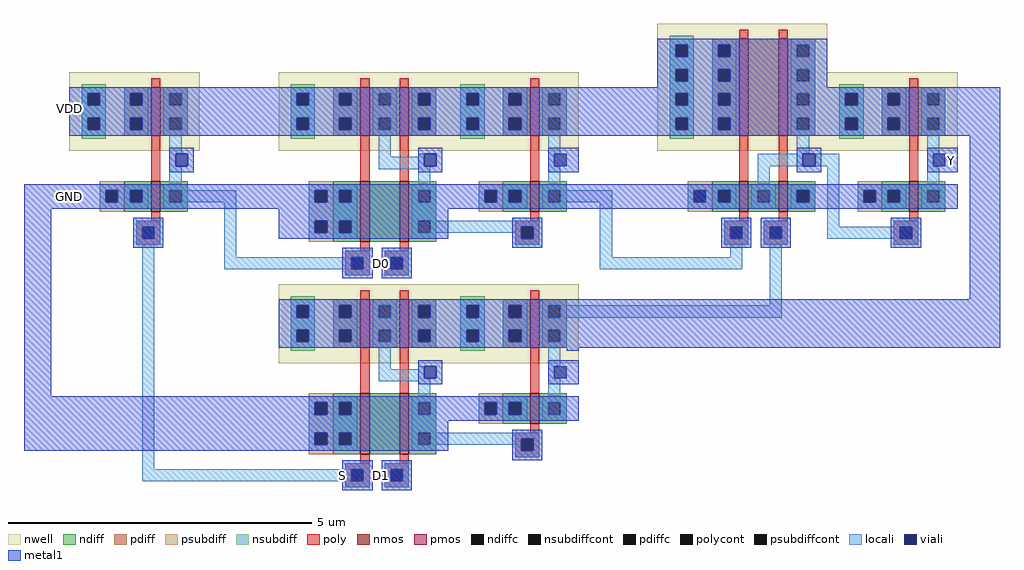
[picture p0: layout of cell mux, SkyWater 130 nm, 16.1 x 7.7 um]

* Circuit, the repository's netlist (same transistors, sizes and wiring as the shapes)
* NGSPICE file created from mux.ext - technology: sky130A

.subckt inverter1 GND Y A w_n140_80#
X0 Y A GND GND sky130_fd_pr__nfet_01v8 ad=0.225 pd=1.9 as=0.225 ps=1.9 w=0.5 l=0.15
X1 Y A w_n140_80# w_n140_80# sky130_fd_pr__pfet_01v8 ad=0.36 pd=2.5 as=0.36 ps=2.5 w=0.8 l=0.15
.ends

.subckt nor VDD GND A B Y a_n35_n100# a_30_n100#
X0 a_5_80# a_n35_n100# VDD VDD sky130_fd_pr__pfet_01v8 ad=0.4 pd=2.1 as=0.72 ps=4.1 w=1.6 l=0.15
X1 Y a_n35_n100# GND GND sky130_fd_pr__nfet_01v8 ad=0.125 pd=1 as=0.225 ps=1.9 w=0.5 l=0.15
X2 GND a_30_n100# Y GND sky130_fd_pr__nfet_01v8 ad=0.225 pd=1.9 as=0.125 ps=1 w=0.5 l=0.15
X3 Y a_30_n100# a_5_80# VDD sky130_fd_pr__pfet_01v8 ad=0.72 pd=4.1 as=0.4 ps=2.1 w=1.6 l=0.15
.ends

.subckt or inverter1_0/Y nor_0/VDD nor_0/B nor_0/a_n35_n100# nor_0/A nor_0/a_30_n100#
+ nor_0/Y SUB
Xinverter1_0 SUB inverter1_0/Y nor_0/Y nor_0/VDD inverter1
Xnor_0 nor_0/VDD SUB nor_0/A nor_0/B nor_0/Y nor_0/a_n35_n100# nor_0/a_30_n100# nor
.ends

.subckt nand VDD GND A B Y a_n40_n115# a_25_n115#
X0 Y a_n40_n115# VDD VDD sky130_fd_pr__pfet_01v8 ad=0.2 pd=1.3 as=0.36 ps=2.5 w=0.8 l=0.15
X1 Y a_25_n115# a_0_n60# GND sky130_fd_pr__nfet_01v8 ad=0.45 pd=2.9 as=0.25 ps=1.5 w=1 l=0.15
X2 a_0_n60# a_n40_n115# GND GND sky130_fd_pr__nfet_01v8 ad=0.25 pd=1.5 as=0.45 ps=2.9 w=1 l=0.15
X3 VDD a_25_n115# Y VDD sky130_fd_pr__pfet_01v8 ad=0.36 pd=2.5 as=0.2 ps=1.3 w=0.8 l=0.15
.ends

.subckt and inverter1_0/Y nand_0/VDD nand_0/a_n40_n115# nand_0/B nand_0/A SUB nand_0/a_25_n115#
Xinverter1_0 SUB inverter1_0/Y nand_0/Y nand_0/VDD inverter1
Xnand_0 nand_0/VDD SUB nand_0/A nand_0/B nand_0/Y nand_0/a_n40_n115# nand_0/a_25_n115#
+ nand
.ends

*.subckt mux VDD D1 D0 Y S GND
Xinverter1_0 GND inverter1_0/Y S VDD inverter1
Xor_0 Y VDD or_0/nor_0/B or_0/nor_0/A or_0/nor_0/A or_0/nor_0/B or_0/nor_0/Y GND or
Xand_0 or_0/nor_0/A VDD inverter1_0/Y D0 inverter1_0/Y GND D0 and
Xand_1 or_0/nor_0/B VDD S D1 S GND D1 and
*.ends

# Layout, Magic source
magic
tech sky130A
<< polycont >>
rect 690 25 710 45
rect 755 25 775 45
rect 65 -25 85 -5
rect 130 -25 150 -5
rect 65 -375 85 -355
rect 130 -375 150 -355
<< locali >>
rect -205 85 -125 105
rect 420 85 495 105
rect -280 -355 -260 15
rect -145 -5 -125 85
rect 475 -5 495 85
rect 690 -5 710 15
rect -145 -25 55 -5
rect 475 -25 710 -5
rect 755 -85 775 15
rect 420 -105 775 -85
rect -280 -375 55 -355
<< metal1 >>
rect -400 195 -380 275
rect -205 195 -35 275
rect 420 195 590 275
rect 1045 195 1135 275
rect 1015 135 1055 175
rect -475 75 -380 115
rect -205 75 -35 115
rect 420 75 590 115
rect -475 -235 -430 75
rect -295 10 -245 60
rect 675 10 725 60
rect 740 10 790 60
rect 955 10 1005 60
rect 50 -40 100 10
rect 115 -40 165 10
rect 1085 -75 1135 195
rect 420 -155 1135 -75
rect 420 -160 440 -155
rect -475 -325 -35 -235
rect 50 -390 100 -340
rect 115 -390 165 -340
use and  and_0
transform 1 0 20 0 1 20
box -75 -60 420 280
use and  and_1
transform 1 0 20 0 1 -330
box -75 -60 420 280
use inverter1  inverter1_0
transform 1 0 -260 0 1 90
box -140 -80 75 210
use or  or_0
transform 1 0 620 0 1 40
box -50 -30 445 340
<< labels >>
rlabel metal1 115 -365 115 -365 7 D1
port 2 w
rlabel metal1 115 -15 115 -15 7 D0
port 3 w
rlabel metal1 1055 155 1055 155 3 Y
port 4 e
rlabel metal1 50 -365 50 -365 7 S
port 5 w
rlabel metal1 -400 240 -400 240 7 VDD
port 1 w
rlabel metal1 -400 95 -400 95 7 GND
port 6 w
<< end >>

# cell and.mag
magic
tech sky130A
<< locali >>
rect 185 15 315 35
<< metal1 >>
rect -75 175 -55 255
rect 370 115 420 155
rect -75 5 -55 95
rect 30 -60 80 -10
rect 95 -60 145 -10
use inverter1  inverter1_0
transform 1 0 345 0 1 70
box -140 -80 75 210
use nand  nand_0
transform 1 0 75 0 1 60
box -150 -120 130 220
<< labels >>
rlabel metal1 -75 215 -75 215 7 VDD
port 1 w
rlabel metal1 -75 50 -75 50 7 GND
port 2 w
rlabel metal1 30 -35 30 -35 7 A
port 3 w
rlabel metal1 95 -35 95 -35 7 B
port 4 w
rlabel metal1 420 135 420 135 3 Y
port 5 e
<< end >>

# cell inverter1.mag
magic
tech sky130A
<< nwell >>
rect -140 80 75 210
<< nmos >>
rect -5 -20 10 30
<< pmos >>
rect -5 105 10 185
<< ndiff >>
rect -50 15 -5 30
rect -50 -5 -40 15
rect -20 -5 -5 15
rect -50 -20 -5 -5
rect 10 15 55 30
rect 10 -5 25 15
rect 45 -5 55 15
rect 10 -20 55 -5
<< pdiff >>
rect -50 175 -5 185
rect -50 155 -40 175
rect -20 155 -5 175
rect -50 135 -5 155
rect -50 115 -40 135
rect -20 115 -5 135
rect -50 105 -5 115
rect 10 175 55 185
rect 10 155 25 175
rect 45 155 55 175
rect 10 135 55 155
rect 10 115 25 135
rect 45 115 55 135
rect 10 105 55 115
<< ndiffc >>
rect -40 -5 -20 15
rect 25 -5 45 15
<< pdiffc >>
rect -40 155 -20 175
rect -40 115 -20 135
rect 25 155 45 175
rect 25 115 45 135
<< psubdiff >>
rect -90 15 -50 30
rect -90 -5 -80 15
rect -60 -5 -50 15
rect -90 -20 -50 -5
<< nsubdiff >>
rect -120 175 -80 190
rect -120 155 -110 175
rect -90 155 -80 175
rect -120 135 -80 155
rect -120 115 -110 135
rect -90 115 -80 135
rect -120 100 -80 115
<< psubdiffcont >>
rect -80 -5 -60 15
<< nsubdiffcont >>
rect -110 155 -90 175
rect -110 115 -90 135
<< poly >>
rect -5 185 10 200
rect -5 30 10 105
rect -5 -35 10 -20
rect -30 -45 10 -35
rect -30 -65 -20 -45
rect 0 -65 10 -45
rect -30 -75 10 -65
<< polycont >>
rect -20 -65 0 -45
<< locali >>
rect -120 175 -80 185
rect -120 155 -110 175
rect -90 155 -80 175
rect -120 135 -80 155
rect -120 115 -110 135
rect -90 115 -80 135
rect -120 105 -80 115
rect -50 175 -10 185
rect -50 155 -40 175
rect -20 155 -10 175
rect -50 135 -10 155
rect -50 115 -40 135
rect -20 115 -10 135
rect -50 105 -10 115
rect 15 175 55 185
rect 15 155 25 175
rect 45 155 55 175
rect 15 135 55 155
rect 15 115 25 135
rect 45 115 55 135
rect 15 105 55 115
rect 25 75 45 105
rect 25 55 35 75
rect 25 25 45 55
rect -90 15 -10 25
rect -90 -5 -80 15
rect -60 -5 -40 15
rect -20 -5 -10 15
rect -90 -15 -10 -5
rect 15 15 55 25
rect 15 -5 25 15
rect 45 -5 55 15
rect 15 -15 55 -5
rect -30 -45 10 -35
rect -30 -65 -20 -45
rect 0 -65 10 -45
rect -30 -75 10 -65
<< viali >>
rect -110 155 -90 175
rect -110 115 -90 135
rect -40 155 -20 175
rect -40 115 -20 135
rect 35 55 55 75
rect -80 -5 -60 15
rect -40 -5 -20 15
rect -20 -65 0 -45
<< metal1 >>
rect -140 175 75 185
rect -140 155 -110 175
rect -90 155 -40 175
rect -20 155 75 175
rect -140 135 75 155
rect -140 115 -110 135
rect -90 115 -40 135
rect -20 115 75 135
rect -140 105 75 115
rect 25 75 65 85
rect 25 55 35 75
rect 55 55 65 75
rect 25 45 65 55
rect -140 15 75 25
rect -140 -5 -80 15
rect -60 -5 -40 15
rect -20 -5 75 15
rect -140 -15 75 -5
rect -35 -45 15 -30
rect -35 -65 -20 -45
rect 0 -65 15 -45
rect -35 -80 15 -65
<< labels >>
rlabel metal1 -140 5 -140 5 7 GND
port 2 w
rlabel metal1 65 65 65 65 3 Y
port 3 e
rlabel metal1 -35 -55 -35 -55 7 A
port 4 w
rlabel metal1 -140 150 -140 150 7 VDD
port 1 w
<< end >>

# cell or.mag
magic
tech sky130A
<< locali >>
rect 210 105 250 125
rect 230 5 250 105
rect 230 -15 340 5
<< metal1 >>
rect -50 155 -30 315
rect 395 95 445 135
rect -50 35 40 75
rect 55 -30 105 20
rect 120 -30 170 20
use inverter1  inverter1_0
transform 1 0 370 0 1 50
box -140 -80 75 210
use nor  nor_0
transform 1 0 95 0 1 75
box -145 -105 135 265
<< labels >>
rlabel metal1 -50 55 -50 55 7 GND
port 2 w
rlabel metal1 55 -5 55 -5 7 A
port 3 w
rlabel metal1 120 -5 120 -5 7 B
port 4 w
rlabel metal1 -50 235 -50 235 7 VDD
port 1 w
rlabel metal1 445 115 445 115 3 Y
port 5 e
<< end >>

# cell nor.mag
magic
tech sky130A
<< nwell >>
rect -145 55 135 265
<< nmos >>
rect -10 -45 5 5
rect 55 -45 70 5
<< pmos >>
rect -10 80 5 240
rect 55 80 70 240
<< ndiff >>
rect -55 -10 -10 5
rect -55 -30 -45 -10
rect -25 -30 -10 -10
rect -55 -45 -10 -30
rect 5 -10 55 5
rect 5 -30 20 -10
rect 40 -30 55 -10
rect 5 -45 55 -30
rect 70 -10 115 5
rect 70 -30 85 -10
rect 105 -30 115 -10
rect 70 -45 115 -30
<< pdiff >>
rect -55 230 -10 240
rect -55 210 -45 230
rect -25 210 -10 230
rect -55 190 -10 210
rect -55 170 -45 190
rect -25 170 -10 190
rect -55 150 -10 170
rect -55 130 -45 150
rect -25 130 -10 150
rect -55 110 -10 130
rect -55 90 -45 110
rect -25 90 -10 110
rect -55 80 -10 90
rect 5 80 55 240
rect 70 230 115 240
rect 70 210 85 230
rect 105 210 115 230
rect 70 190 115 210
rect 70 170 85 190
rect 105 170 115 190
rect 70 150 115 170
rect 70 130 85 150
rect 105 130 115 150
rect 70 110 115 130
rect 70 90 85 110
rect 105 90 115 110
rect 70 80 115 90
<< ndiffc >>
rect -45 -30 -25 -10
rect 20 -30 40 -10
rect 85 -30 105 -10
<< pdiffc >>
rect -45 210 -25 230
rect -45 170 -25 190
rect -45 130 -25 150
rect -45 90 -25 110
rect 85 210 105 230
rect 85 170 105 190
rect 85 130 105 150
rect 85 90 105 110
<< psubdiff >>
rect -95 -10 -55 5
rect -95 -30 -85 -10
rect -65 -30 -55 -10
rect -95 -45 -55 -30
<< nsubdiff >>
rect -125 230 -85 245
rect -125 210 -115 230
rect -95 210 -85 230
rect -125 190 -85 210
rect -125 170 -115 190
rect -95 170 -85 190
rect -125 150 -85 170
rect -125 130 -115 150
rect -95 130 -85 150
rect -125 110 -85 130
rect -125 90 -115 110
rect -95 90 -85 110
rect -125 75 -85 90
<< psubdiffcont >>
rect -85 -30 -65 -10
<< nsubdiffcont >>
rect -115 210 -95 230
rect -115 170 -95 190
rect -115 130 -95 150
rect -115 90 -95 110
<< poly >>
rect -10 240 5 255
rect 55 240 70 255
rect -10 5 5 80
rect 55 5 70 80
rect -10 -60 5 -45
rect 55 -60 70 -45
rect -35 -100 5 -60
rect 30 -100 70 -60
<< locali >>
rect -125 230 -85 240
rect -125 210 -115 230
rect -95 210 -85 230
rect -125 190 -85 210
rect -125 170 -115 190
rect -95 170 -85 190
rect -125 150 -85 170
rect -125 130 -115 150
rect -95 130 -85 150
rect -125 110 -85 130
rect -125 90 -115 110
rect -95 90 -85 110
rect -125 80 -85 90
rect -55 230 -15 240
rect -55 210 -45 230
rect -25 210 -15 230
rect -55 190 -15 210
rect -55 170 -45 190
rect -25 170 -15 190
rect -55 150 -15 170
rect -55 130 -45 150
rect -25 130 -15 150
rect -55 110 -15 130
rect -55 90 -45 110
rect -25 90 -15 110
rect -55 80 -15 90
rect 75 230 115 240
rect 75 210 85 230
rect 105 210 115 230
rect 75 190 115 210
rect 75 170 85 190
rect 105 170 115 190
rect 75 150 115 170
rect 75 130 85 150
rect 105 130 115 150
rect 75 110 115 130
rect 75 90 85 110
rect 105 90 115 110
rect 75 80 115 90
rect 85 50 105 80
rect 20 30 95 50
rect 20 0 40 30
rect -95 -10 -15 0
rect -95 -30 -85 -10
rect -65 -30 -45 -10
rect -25 -30 -15 -10
rect -95 -40 -15 -30
rect 10 -10 50 0
rect 10 -30 20 -10
rect 40 -30 50 -10
rect 10 -40 50 -30
rect 75 -10 115 0
rect 75 -30 85 -10
rect 105 -30 115 -10
rect 75 -40 115 -30
rect -35 -70 5 -60
rect -35 -90 -25 -70
rect -5 -90 5 -70
rect -35 -100 5 -90
rect 30 -70 70 -60
rect 30 -90 40 -70
rect 60 -90 70 -70
rect 30 -100 70 -90
<< viali >>
rect -115 210 -95 230
rect -115 170 -95 190
rect -115 130 -95 150
rect -115 90 -95 110
rect -45 210 -25 230
rect -45 170 -25 190
rect -45 130 -25 150
rect -45 90 -25 110
rect 95 30 115 50
rect -85 -30 -65 -10
rect -45 -30 -25 -10
rect 85 -30 105 -10
rect -25 -90 -5 -70
rect 40 -90 60 -70
<< metal1 >>
rect -145 230 135 240
rect -145 210 -115 230
rect -95 210 -45 230
rect -25 210 135 230
rect -145 190 135 210
rect -145 170 -115 190
rect -95 170 -45 190
rect -25 170 135 190
rect -145 150 135 170
rect -145 130 -115 150
rect -95 130 -45 150
rect -25 130 135 150
rect -145 110 135 130
rect -145 90 -115 110
rect -95 90 -45 110
rect -25 90 135 110
rect -145 80 135 90
rect 85 50 125 60
rect 85 30 95 50
rect 115 30 125 50
rect 85 20 125 30
rect -145 -10 135 0
rect -145 -30 -85 -10
rect -65 -30 -45 -10
rect -25 -30 85 -10
rect 105 -30 135 -10
rect -145 -40 135 -30
rect -40 -70 10 -55
rect -40 -90 -25 -70
rect -5 -90 10 -70
rect -40 -105 10 -90
rect 25 -70 75 -55
rect 25 -90 40 -70
rect 60 -90 75 -70
rect 25 -105 75 -90
<< labels >>
rlabel metal1 -145 160 -145 160 7 VDD
port 1 w
rlabel metal1 -145 -20 -145 -20 7 GND
port 2 w
rlabel metal1 -40 -80 -40 -80 7 A
port 3 w
rlabel metal1 25 -80 25 -80 7 B
port 4 w
rlabel metal1 125 40 125 40 7 Y
port 5 w
<< end >>

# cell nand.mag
magic
tech sky130A
<< nwell >>
rect -150 90 130 220
<< nmos >>
rect -15 -60 0 40
rect 50 -60 65 40
<< pmos >>
rect -15 115 0 195
rect 50 115 65 195
<< ndiff >>
rect -60 25 -15 40
rect -60 5 -50 25
rect -30 5 -15 25
rect -60 -25 -15 5
rect -60 -45 -50 -25
rect -30 -45 -15 -25
rect -60 -60 -15 -45
rect 0 -60 50 40
rect 65 25 110 40
rect 65 5 80 25
rect 100 5 110 25
rect 65 -25 110 5
rect 65 -45 80 -25
rect 100 -45 110 -25
rect 65 -60 110 -45
<< pdiff >>
rect -60 185 -15 195
rect -60 165 -50 185
rect -30 165 -15 185
rect -60 145 -15 165
rect -60 125 -50 145
rect -30 125 -15 145
rect -60 115 -15 125
rect 0 185 50 195
rect 0 165 15 185
rect 35 165 50 185
rect 0 145 50 165
rect 0 125 15 145
rect 35 125 50 145
rect 0 115 50 125
rect 65 185 110 195
rect 65 165 80 185
rect 100 165 110 185
rect 65 145 110 165
rect 65 125 80 145
rect 100 125 110 145
rect 65 115 110 125
<< ndiffc >>
rect -50 5 -30 25
rect -50 -45 -30 -25
rect 80 5 100 25
rect 80 -45 100 -25
<< pdiffc >>
rect -50 165 -30 185
rect -50 125 -30 145
rect 15 165 35 185
rect 15 125 35 145
rect 80 165 100 185
rect 80 125 100 145
<< psubdiff >>
rect -100 25 -60 40
rect -100 5 -90 25
rect -70 5 -60 25
rect -100 -25 -60 5
rect -100 -45 -90 -25
rect -70 -45 -60 -25
rect -100 -60 -60 -45
<< nsubdiff >>
rect -130 185 -90 200
rect -130 165 -120 185
rect -100 165 -90 185
rect -130 145 -90 165
rect -130 125 -120 145
rect -100 125 -90 145
rect -130 110 -90 125
<< psubdiffcont >>
rect -90 5 -70 25
rect -90 -45 -70 -25
<< nsubdiffcont >>
rect -120 165 -100 185
rect -120 125 -100 145
<< poly >>
rect -15 195 0 210
rect 50 195 65 210
rect -15 40 0 115
rect 50 40 65 115
rect -15 -75 0 -60
rect 50 -75 65 -60
rect -40 -115 0 -75
rect 25 -115 65 -75
<< locali >>
rect -130 185 -90 195
rect -130 165 -120 185
rect -100 165 -90 185
rect -130 145 -90 165
rect -130 125 -120 145
rect -100 125 -90 145
rect -130 115 -90 125
rect -60 185 -20 195
rect -60 165 -50 185
rect -30 165 -20 185
rect -60 145 -20 165
rect -60 125 -50 145
rect -30 125 -20 145
rect -60 115 -20 125
rect 5 185 45 195
rect 5 165 15 185
rect 35 165 45 185
rect 5 145 45 165
rect 5 125 15 145
rect 35 125 45 145
rect 5 115 45 125
rect 70 185 110 195
rect 70 165 80 185
rect 100 165 110 185
rect 70 145 110 165
rect 70 125 80 145
rect 100 125 110 145
rect 70 115 110 125
rect 15 80 35 115
rect 80 80 90 85
rect 15 65 90 80
rect 15 60 100 65
rect 80 35 100 60
rect -100 25 -20 35
rect -100 5 -90 25
rect -70 5 -50 25
rect -30 5 -20 25
rect -100 -25 -20 5
rect -100 -45 -90 -25
rect -70 -45 -50 -25
rect -30 -45 -20 -25
rect -100 -55 -20 -45
rect 70 25 110 35
rect 70 5 80 25
rect 100 5 110 25
rect 70 -25 110 5
rect 70 -45 80 -25
rect 100 -45 110 -25
rect 70 -55 110 -45
rect -40 -85 0 -75
rect -40 -105 -30 -85
rect -10 -105 0 -85
rect -40 -115 0 -105
rect 25 -85 65 -75
rect 25 -105 35 -85
rect 55 -105 65 -85
rect 25 -115 65 -105
<< viali >>
rect -120 165 -100 185
rect -120 125 -100 145
rect -50 165 -30 185
rect -50 125 -30 145
rect 80 165 100 185
rect 80 125 100 145
rect 90 65 110 85
rect -90 5 -70 25
rect -50 5 -30 25
rect -90 -45 -70 -25
rect -50 -45 -30 -25
rect -30 -105 -10 -85
rect 35 -105 55 -85
<< metal1 >>
rect -150 185 130 195
rect -150 165 -120 185
rect -100 165 -50 185
rect -30 165 80 185
rect 100 165 130 185
rect -150 145 130 165
rect -150 125 -120 145
rect -100 125 -50 145
rect -30 125 80 145
rect 100 125 130 145
rect -150 115 130 125
rect 80 85 120 95
rect 80 65 90 85
rect 110 65 120 85
rect 80 55 120 65
rect -150 25 130 35
rect -150 5 -90 25
rect -70 5 -50 25
rect -30 5 130 25
rect -150 -25 130 5
rect -150 -45 -90 -25
rect -70 -45 -50 -25
rect -30 -45 130 -25
rect -150 -55 130 -45
rect -45 -85 5 -70
rect -45 -105 -30 -85
rect -10 -105 5 -85
rect -45 -120 5 -105
rect 20 -85 70 -70
rect 20 -105 35 -85
rect 55 -105 70 -85
rect 20 -120 70 -105
<< labels >>
rlabel metal1 -150 155 -150 155 7 VDD
port 1 w
rlabel metal1 -150 15 -150 15 7 GND
port 2 w
rlabel metal1 120 75 120 75 3 Y
port 5 e
rlabel metal1 -45 -95 -45 -95 7 A
port 3 w
rlabel metal1 20 -95 20 -95 7 B
port 4 w
<< end >>
